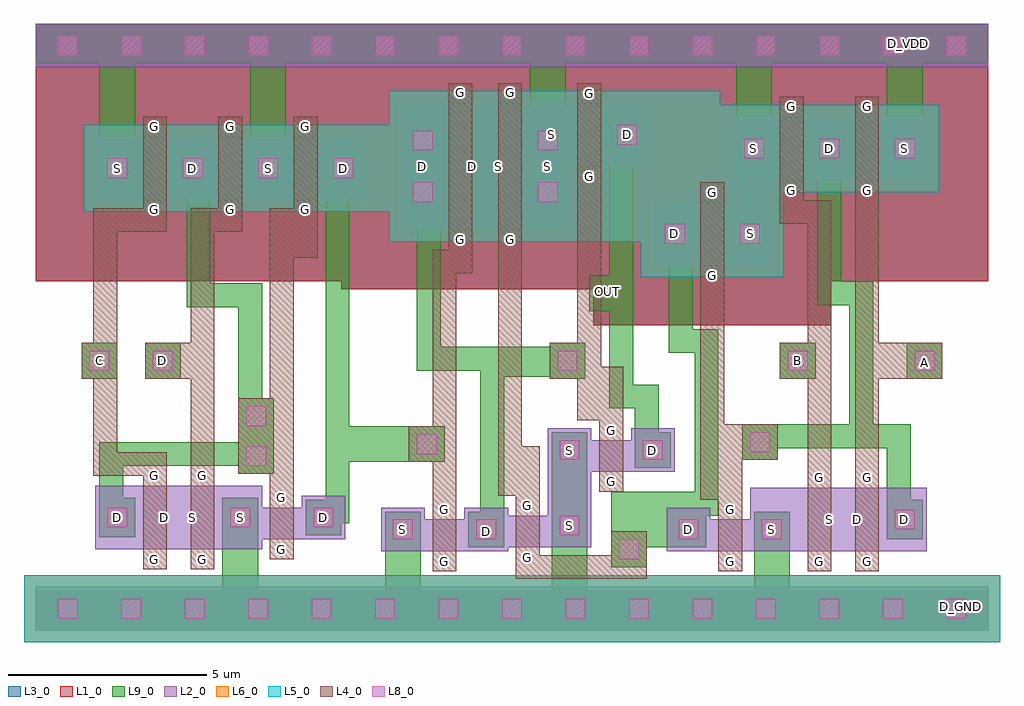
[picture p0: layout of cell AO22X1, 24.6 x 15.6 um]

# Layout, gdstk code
import gdstk
lib = gdstk.Library(unit=1e-6, precision=1e-09)
def R(c, l, rs):  # rectangles x0, y0, x1, y1
    for r in rs: c.add(gdstk.rectangle(r[:2], r[2:], *l))
def A(c, l, x, y, w, h, nx, ny, dx, dy):  # array of equal rectangles
    R(c, l, [(x+i*dx, y+j*dy, x+i*dx+w, y+j*dy+h) for i in range(nx) for j in range(ny)])
def P(c, l, *ps):  # polygons
    for p in ps: c.add(gdstk.Polygon(p, *l))
L1_0 = (1, 0)
L2_0 = (2, 0)
L3_0 = (3, 0)
L4_0 = (4, 0)
L5_0 = (5, 0)
L6_0 = (6, 0)
L8_0 = (8, 0)
L9_0 = (9, 0)

ao22x1 = lib.new_cell('AO22X1')
A(ao22x1, L1_0, 0, 8.8, 1.6, 6.5, 15, 1, 1.6, 0)
A(ao22x1, L1_0, 0, 9.35, 6, 4.6, 3, 1, 1.9, 0)
R(ao22x1, L1_0, [(14.05,7.7,20.05,12.3), (7.7,8.6,13.7,14.8), (8.95,8.6,14.95,14.8), (16.05,9.85,22.05,14.45), (17.95,9.85,23.95,14.45), (10.95,10.2,16.95,14.8)])
A(ao22x1, L2_0, 0, 0, 1.6, 1.1, 15, 2, 1.6, 14.2)
A(ao22x1, L2_0, 2.6, 10.85, 0.8, 1.6, 3, 1, 1.9, 0)
R(ao22x1, L2_0, [(8.7,2,9.8,3.1), (9.8,2,10.8,2.8), (10.8,2,11.9,3.1), (15.9,2,17,3.1), (17,2,18,2.8), (18,2,19.1,3.1), (18,2,19.35,3.6), (18.25,2,19.35,3.6), (19.35,2,20.15,3.6), (19.45,2,20.55,3.6), (20.15,2,21.25,3.6), (20.55,2,21.35,3.6), (21.35,2,22.45,3.6), (1.5,2.05,2.6,3.65), (2.6,2.05,3.4,3.65), (2.7,2.05,3.8,3.65), (3.4,2.05,4.5,3.65), (3.8,2.05,4.6,3.65), (4.6,2.05,5.7,3.65), (10.8,2.1,11.9,2.9), (11.9,2.1,12.9,2.9), (12.9,2.1,14,3.2), (4.6,2.3,5.7,3.4), (5.7,2.3,6.7,3.1), (6.7,2.3,7.8,3.4), (12.9,3.2,14,4), (12.9,4,14,5.1), (14,4,15,4.8), (15,4,16.1,5.1), (15.55,9.2,16.65,10.8), (16.65,9.2,17.45,10.8), (17.45,9.2,18.55,10.8), (9.2,10.1,10.3,13.3), (10.3,10.1,11.1,13.3), (10.45,10.1,11.55,13.3), (11.1,10.1,12.2,13.3), (11.55,10.1,12.35,13.3), (12.35,10.1,13.45,13.3), (17.55,10.8,18.55,11.35), (1.5,10.85,2.6,12.45), (3.4,10.85,4.5,12.45), (3.4,10.85,4.5,12.45), (5.3,10.85,6.4,12.45), (5.3,10.85,6.4,12.45), (7.2,10.85,8.3,12.45), (17.55,11.35,18.65,12.95), (18.65,11.35,19.45,12.95), (19.45,11.35,20.55,12.95), (19.45,11.35,20.55,12.95), (20.55,11.35,21.35,12.95), (21.35,11.35,22.45,12.95), (12.45,11.7,13.55,13.3), (13.55,11.7,14.35,13.3), (14.35,11.7,15.45,13.3), (12.4,11.9,13.55,13.25)])
A(ao22x1, L3_0, 0, 8.8, 1.6, 6.5, 15, 1, 1.6, 0)
A(ao22x1, L3_0, 0, 9.35, 6, 4.6, 3, 1, 1.9, 0)
R(ao22x1, L3_0, [(14.05,7.7,20.05,12.3), (7.7,8.6,13.7,14.8), (8.95,8.6,14.95,14.8), (16.05,9.85,22.05,14.45), (17.95,9.85,23.95,14.45), (10.95,10.2,16.95,14.8)])
A(ao22x1, L4_0, 2.7, 10.35, 0.6, 0.5, 3, 2, 1.9, 2.1)
A(ao22x1, L4_0, 2.7, 10.35, 0.6, 2.6, 3, 1, 1.9, 0)
R(ao22x1, L4_0, [(12.1,1.3,15.4,1.9), (10,1.5,10.6,3.3), (10,1.5,10.6,2), (17.2,1.5,17.8,3.3), (17.2,1.5,17.8,2), (19.45,1.5,20.05,2), (19.45,1.5,20.05,4.1), (20.65,1.5,21.25,2), (20.65,1.5,21.25,4.1), (2.7,1.55,3.3,2.05), (2.7,1.55,3.3,4.15), (3.9,1.55,4.5,2.05), (3.9,1.55,4.5,4.15), (12.1,1.6,12.7,3.4), (12.1,1.6,12.7,2.1), (14.5,1.6,15.4,2.5), (5.9,1.8,6.5,3.6), (5.9,1.8,6.5,2.3), (10,2.8,10.6,3.3), (17.2,2.8,17.8,3.3), (12.1,2.9,12.7,3.4), (5.9,3.1,6.5,3.6), (16.75,3.3,17.35,7.6), (17.35,3.3,17.8,4.55), (14.2,3.5,14.8,5.3), (14.2,3.5,14.8,4), (19.45,3.6,20.05,4.1), (20.65,3.6,21.25,4.1), (2.7,3.65,3.3,4.15), (3.9,3.65,4.5,4.15), (17.35,3.75,17.8,5.2), (5.1,3.95,6,5.85), (19.45,3.95,20.05,5.1), (20.65,4.1,21.25,6.6), (9.4,4.25,10.3,5.15), (17.8,4.3,18.7,5.2), (14.2,4.8,14.8,5.3), (1.15,6.35,2.05,7.25), (2.75,6.35,3.65,7.25), (3.65,6.35,3.9,7.25), (12.95,6.35,13.85,7.25), (18.75,6.35,19.65,7.25), (21.25,6.35,21.95,7.25), (21.95,6.35,22.85,7.25), (20.65,6.6,21.25,9.75), (16.75,7.6,17.35,8.7), (11.65,7.65,12.25,9.6), (16.75,8.7,17.35,9.2), (16.75,8.7,17.35,11.3), (6.4,9.4,7.1,10.05), (20.65,9.4,21.25,11.05), (13.65,9.5,14.25,10.55), (10.4,9.6,11,10.1), (10.4,9.6,11,13.8), (11.65,9.6,12.25,10.1), (11.65,9.6,12.25,13.8), (13.65,10.5,14.25,11.2), (16.75,10.8,17.35,11.3), (18.75,10.85,19.35,11.35), (18.75,10.85,19.35,13.45), (20.65,10.85,21.25,11.35), (20.65,10.85,21.25,13.45), (13.65,11.2,14.25,11.7), (13.65,11.2,14.25,13.8), (18.75,12.95,19.35,13.45), (20.65,12.95,21.25,13.45), (10.4,13.3,11,13.8), (11.65,13.3,12.25,13.8), (13.65,13.3,14.25,13.8)])
P(ao22x1, L4_0, [(18.75,10.25),(19.45,10.25),(19.45,4.9),(20.05,4.9),(20.05,10.85),(18.75,10.85)],
  [(11.65,3.4),(12.7,3.4),(12.7,4.65),(12.25,4.65),(12.25,7.7),(11.65,7.7)],
  [(1.45,3.9),(3.3,3.9),(3.3,4.5),(2.05,4.5),(2.05,6.35),(1.45,6.35)],
  [(1.45,7.25),(2.05,7.25),(2.05,10.05),(3.3,10.05),(3.3,10.65),(1.45,10.65)],
  [(13.65,5.3),(14.8,5.3),(14.8,6.65),(14.25,6.65),(14.25,9.8),(13.65,9.8)],
  [(5.9,4.7),(6.5,4.7),(6.5,10.05),(7.1,10.05),(7.1,10.65),(5.9,10.65)],
  [(3.9,3.65),(4.5,3.65),(4.5,10.05),(5.2,10.05),(5.2,10.65),(3.9,10.65)],
  [(5.85,4.2),(5.9,4.2),(5.9,3.55),(6.5,3.55),(6.5,4.8),(5.85,4.8)],
  [(10,3),(10.6,3),(10.6,9),(11,9),(11,9.6),(10,9.6)])
A(ao22x1, L5_0, 1.6, -0.3, 1.6, 1.7, 13, 1, 1.6, 0)
A(ao22x1, L5_0, 1.2, 10.55, 3.6, 2.2, 3, 1, 1.9, 0)
R(ao22x1, L5_0, [(-0.3,-0.3,1.6,1.4), (22.4,-0.3,24.3,1.4), (15.25,8.9,18.85,11.1), (8.9,9.8,12.5,13.6), (10.15,9.8,13.75,13.6), (8.6,10.55,8.9,12.75), (17.25,11.05,20.85,13.25), (19.15,11.05,22.75,13.25), (12.15,11.4,15.75,13.6)])
P(ao22x1, L5_0, [(13.75,9.8),(15.25,9.8),(15.25,11.1),(17.25,11.1),(17.25,13.6),(15.75,13.6),(15.75,11.4),(13.75,11.4)])
A(ao22x1, L6_0, 1.6, -0.3, 1.6, 1.7, 13, 1, 1.6, 0)
A(ao22x1, L6_0, 1.2, 10.55, 3.6, 2.2, 3, 1, 1.9, 0)
R(ao22x1, L6_0, [(-0.3,-0.3,1.6,1.4), (22.4,-0.3,24.3,1.4), (15.25,8.9,18.85,11.1), (8.9,9.8,12.5,13.6), (10.15,9.8,13.75,13.6), (8.6,10.55,8.9,12.75), (17.25,11.05,20.85,13.25), (19.15,11.05,22.75,13.25), (12.15,11.4,15.75,13.6)])
P(ao22x1, L6_0, [(13.75,9.8),(15.25,9.8),(15.25,11.1),(17.25,11.1),(17.25,13.6),(15.75,13.6),(15.75,11.4),(13.75,11.4)])
A(ao22x1, L8_0, 0.55, 0.3, 0.5, 0.5, 15, 2, 1.6, 14.2)
R(ao22x1, L8_0, [(14.7,1.8,15.2,2.3), (9,2.3,9.5,2.8), (11.1,2.3,11.6,2.8), (16.2,2.3,16.7,2.8), (18.3,2.3,18.8,2.8), (13.2,2.4,13.7,2.9), (21.65,2.55,22.15,3.05), (1.8,2.6,2.3,3.1), (4.9,2.6,5.4,3.1), (4.9,2.6,5.4,3.1), (7,2.6,7.5,3.1), (5.3,4.15,5.8,4.65), (13.2,4.3,13.7,4.8), (15.3,4.3,15.8,4.8), (9.6,4.45,10.1,4.95), (18,4.5,18.5,5), (5.3,5.15,5.8,5.65), (1.35,6.55,1.85,7.05), (2.95,6.55,3.45,7.05), (13.15,6.55,13.65,7.05), (18.95,6.55,19.45,7.05), (22.15,6.55,22.65,7.05), (15.85,9.75,16.35,10.25), (17.75,9.75,18.25,10.25), (9.5,10.8,10,11.3), (12.65,10.8,13.15,11.3), (1.8,11.4,2.3,11.9), (3.7,11.4,4.2,11.9), (3.7,11.4,4.2,11.9), (5.6,11.4,6.1,11.9), (5.6,11.4,6.1,11.9), (7.5,11.4,8,11.9), (17.85,11.9,18.35,12.4), (19.75,11.9,20.25,12.4), (19.75,11.9,20.25,12.4), (21.65,11.9,22.15,12.4), (9.5,12.1,10,12.6), (12.65,12.1,13.15,12.6), (14.65,12.25,15.15,12.75)])
A(ao22x1, L9_0, 0, 0, 1.6, 1, 15, 2, 1.6, 14.3)
R(ao22x1, L9_0, [(4.7,0.1,5.6,3.3), (8.8,0.1,9.7,3), (13,0.1,13.9,3.1), (18.1,0.1,19,3), (22.85,0.1,23.75,1), (14.5,1.6,15.4,2.5), (8.8,2.1,9.7,3), (10.9,2.1,11.8,3), (16,2.1,16.9,3), (18.1,2.1,19,3), (13,2.2,13.9,3.1), (21.45,2.3,22.35,3.3), (1.6,2.35,2.5,3.35), (4.7,2.35,5.6,3.35), (4.7,2.4,5.6,3.3), (6.8,2.4,7.7,3.3), (11.2,2.4,11.8,7.15), (14.5,2.5,14.8,2.7), (14.5,2.7,16,3.5), (1.6,2.75,2.2,4.75), (13,3.1,13.9,4.1), (5.1,3.95,6,5.85), (13,4.1,13.9,5), (15.1,4.1,16,5), (1.6,4.15,5.8,4.75), (7.9,4.25,9.4,5.15), (9.4,4.25,10.3,5.15), (17.8,4.3,18.7,5.2), (1.15,6.35,2.05,7.25), (1.15,6.35,2.05,7.25), (2.75,6.35,3.65,7.25), (2.75,6.35,3.65,7.25), (12.95,6.35,13.85,7.25), (18.75,6.35,19.65,7.25), (18.75,6.35,19.65,7.25), (21.95,6.35,22.85,7.25), (21.95,6.35,22.85,7.25), (11.8,6.4,13.05,6.55), (13.95,8.05,14.85,8.95), (15.65,9.5,16.55,10.5), (17.55,9.5,18.45,10.5), (17.65,10.5,18.45,11.65), (9.3,10.6,10.2,12.8), (12.45,10.6,13.35,12.8), (1.6,11.15,2.5,12.15), (3.5,11.15,4.4,12.15), (3.5,11.15,4.4,12.15), (5.4,11.15,6.3,12.15), (5.4,11.15,6.3,12.15), (7.3,11.15,8.2,12.15), (1.6,11.25,2.5,15.2), (5.4,11.25,6.3,15.2), (17.65,11.65,18.55,12.65), (19.55,11.65,20.45,12.65), (19.55,11.65,20.45,12.65), (21.45,11.65,22.35,12.65), (17.65,11.75,18.55,15.2), (21.45,11.75,22.35,15.2), (12.45,11.9,13.35,15.2), (14.45,12,15.35,13), (21.55,14.35,22.45,15.25)])
P(ao22x1, L9_0, [(15.95,7),(16.6,7),(16.6,3.5),(16,3.5),(16,2.9),(17.2,2.9),(17.2,7.6),(16.55,7.6),(16.55,10.1),(15.95,10.1)],
  [(18.1,4.6),(21.45,4.6),(21.45,2.7),(22.05,2.7),(22.05,5.2),(18.1,5.2)],
  [(19.7,8.2),(20.5,8.2),(20.5,4.6),(21.1,4.6),(21.1,8.8),(20.3,8.8),(20.3,12.25),(19.7,12.25)],
  [(7.1,2.7),(7.9,2.7),(7.9,11.75),(7.3,11.75),(7.3,3.3),(7.1,3.3)],
  [(14.45,5.6),(15.1,5.6),(15.1,4.4),(15.7,4.4),(15.7,6.2),(15.05,6.2),(15.05,12.6),(14.45,12.6)],
  [(9.6,6.55),(13.45,6.55),(13.45,7.15),(10.2,7.15),(10.2,11.2),(9.6,11.2)],
  [(3.8,8.15),(5.1,8.15),(5.1,4.25),(5.7,4.25),(5.7,8.75),(4.4,8.75),(4.4,11.75),(3.8,11.75)],
  [(14.8,1.9),(15.4,1.9),(15.4,2.1),(16.6,2.1),(16.6,2.7),(14.8,2.7)])
ao22x1.add(gdstk.Label('G', (17.5,1.752), layer=4, texttype=0))
ao22x1.add(gdstk.Label('G', (17.5,3.052), layer=4, texttype=0))
ao22x1.add(gdstk.Label('S', (18.551,2.551), layer=9, texttype=0))
ao22x1.add(gdstk.Label('D', (16.451,2.551), layer=9, texttype=0))
ao22x1.add(gdstk.Label('G', (20.95,11.102), layer=4, texttype=0))
ao22x1.add(gdstk.Label('G', (20.95,13.202), layer=4, texttype=0))
ao22x1.add(gdstk.Label('S', (21.901,12.151), layer=9, texttype=0))
ao22x1.add(gdstk.Label('D', (20.001,12.151), layer=9, texttype=0))
ao22x1.add(gdstk.Label('D', (3.251,2.851), layer=2, texttype=0))
ao22x1.add(gdstk.Label('G', (4.2,1.802), layer=4, texttype=0))
ao22x1.add(gdstk.Label('G', (4.2,3.902), layer=4, texttype=0))
ao22x1.add(gdstk.Label('S', (5.151,2.851), layer=9, texttype=0))
ao22x1.add(gdstk.Label('G', (4.9,10.602), layer=4, texttype=0))
ao22x1.add(gdstk.Label('G', (4.9,12.702), layer=4, texttype=0))
ao22x1.add(gdstk.Label('S', (5.851,11.651), layer=9, texttype=0))
ao22x1.add(gdstk.Label('D', (3.951,11.651), layer=9, texttype=0))
ao22x1.add(gdstk.Label('G', (6.2,2.052), layer=4, texttype=0))
ao22x1.add(gdstk.Label('G', (6.2,3.352), layer=4, texttype=0))
ao22x1.add(gdstk.Label('S', (5.149,2.851), layer=9, texttype=0))
ao22x1.add(gdstk.Label('D', (7.249,2.851), layer=9, texttype=0))
ao22x1.add(gdstk.Label('G', (10.7,9.852), layer=4, texttype=0))
ao22x1.add(gdstk.Label('G', (10.7,13.552), layer=4, texttype=0))
ao22x1.add(gdstk.Label('S', (11.651,11.701), layer=2, texttype=0))
ao22x1.add(gdstk.Label('D', (9.751,11.701), layer=9, texttype=0))
ao22x1.add(gdstk.Label('S', (13.451,2.651), layer=9, texttype=0))
ao22x1.add(gdstk.Label('G', (12.4,3.152), layer=4, texttype=0))
ao22x1.add(gdstk.Label('G', (12.4,1.852), layer=4, texttype=0))
ao22x1.add(gdstk.Label('D', (11.351,2.501), layer=2, texttype=0))
ao22x1.add(gdstk.Label('G', (11.95,9.852), layer=4, texttype=0))
ao22x1.add(gdstk.Label('G', (11.95,13.552), layer=4, texttype=0))
ao22x1.add(gdstk.Label('S', (12.901,11.701), layer=9, texttype=0))
ao22x1.add(gdstk.Label('D', (11.001,11.701), layer=2, texttype=0))
ao22x1.add(gdstk.Label('G', (3,10.602), layer=4, texttype=0))
ao22x1.add(gdstk.Label('G', (3,12.702), layer=4, texttype=0))
ao22x1.add(gdstk.Label('S', (2.049,11.651), layer=9, texttype=0))
ao22x1.add(gdstk.Label('D', (3.949,11.651), layer=9, texttype=0))
ao22x1.add(gdstk.Label('G', (10.3,1.752), layer=4, texttype=0))
ao22x1.add(gdstk.Label('G', (10.3,3.052), layer=4, texttype=0))
ao22x1.add(gdstk.Label('S', (9.249,2.551), layer=9, texttype=0))
ao22x1.add(gdstk.Label('D', (11.349,2.551), layer=9, texttype=0))
ao22x1.add(gdstk.Label('G', (20.95,1.752), layer=4, texttype=0))
ao22x1.add(gdstk.Label('G', (20.95,3.852), layer=4, texttype=0))
ao22x1.add(gdstk.Label('S', (19.999,2.801), layer=2, texttype=0))
ao22x1.add(gdstk.Label('D', (21.899,2.801), layer=9, texttype=0))
ao22x1.add(gdstk.Label('G', (14.5,3.752), layer=4, texttype=0))
ao22x1.add(gdstk.Label('G', (14.5,5.052), layer=4, texttype=0))
ao22x1.add(gdstk.Label('S', (13.449,4.551), layer=9, texttype=0))
ao22x1.add(gdstk.Label('D', (15.549,4.551), layer=9, texttype=0))
ao22x1.add(gdstk.Label('G', (19.05,11.102), layer=4, texttype=0))
ao22x1.add(gdstk.Label('G', (19.05,13.202), layer=4, texttype=0))
ao22x1.add(gdstk.Label('S', (18.099,12.151), layer=9, texttype=0))
ao22x1.add(gdstk.Label('D', (19.999,12.151), layer=9, texttype=0))
ao22x1.add(gdstk.Label('G', (17.05,8.952), layer=4, texttype=0))
ao22x1.add(gdstk.Label('G', (17.05,11.052), layer=4, texttype=0))
ao22x1.add(gdstk.Label('S', (18.001,10.001), layer=9, texttype=0))
ao22x1.add(gdstk.Label('D', (16.101,10.001), layer=9, texttype=0))
ao22x1.add(gdstk.Label('G', (13.95,13.548), layer=4, texttype=0))
ao22x1.add(gdstk.Label('G', (13.95,11.448), layer=4, texttype=0))
ao22x1.add(gdstk.Label('S', (12.999,12.499), layer=2, texttype=0))
ao22x1.add(gdstk.Label('D', (14.899,12.499), layer=9, texttype=0))
ao22x1.add(gdstk.Label('G', (6.8,10.602), layer=4, texttype=0))
ao22x1.add(gdstk.Label('G', (6.8,12.702), layer=4, texttype=0))
ao22x1.add(gdstk.Label('S', (5.849,11.651), layer=9, texttype=0))
ao22x1.add(gdstk.Label('D', (7.749,11.651), layer=9, texttype=0))
ao22x1.add(gdstk.Label('G', (3,1.802), layer=4, texttype=0))
ao22x1.add(gdstk.Label('G', (3,3.902), layer=4, texttype=0))
ao22x1.add(gdstk.Label('S', (3.951,2.851), layer=2, texttype=0))
ao22x1.add(gdstk.Label('D', (2.051,2.851), layer=9, texttype=0))
ao22x1.add(gdstk.Label('D', (20.699,2.801), layer=2, texttype=0))
ao22x1.add(gdstk.Label('G', (19.75,1.752), layer=4, texttype=0))
ao22x1.add(gdstk.Label('G', (19.75,3.852), layer=4, texttype=0))
ao22x1.add(gdstk.Label('S', (18.799,2.801), layer=2, texttype=0))
ao22x1.add(gdstk.Label('D', (3.2,6.8), layer=50, texttype=0))
ao22x1.add(gdstk.Label('OUT', (14.4,8.55), layer=50, texttype=0))
ao22x1.add(gdstk.Label('D_VDD', (22,14.8), layer=50, texttype=0))
ao22x1.add(gdstk.Label('B', (19.2,6.8), layer=50, texttype=0))
ao22x1.add(gdstk.Label('C', (1.6,6.8), layer=50, texttype=0))
ao22x1.add(gdstk.Label('D_GND', (23.3,0.6), layer=50, texttype=0))
ao22x1.add(gdstk.Label('A', (22.4,6.75), layer=50, texttype=0))

lib.write_gds('AO22X1.gds')
